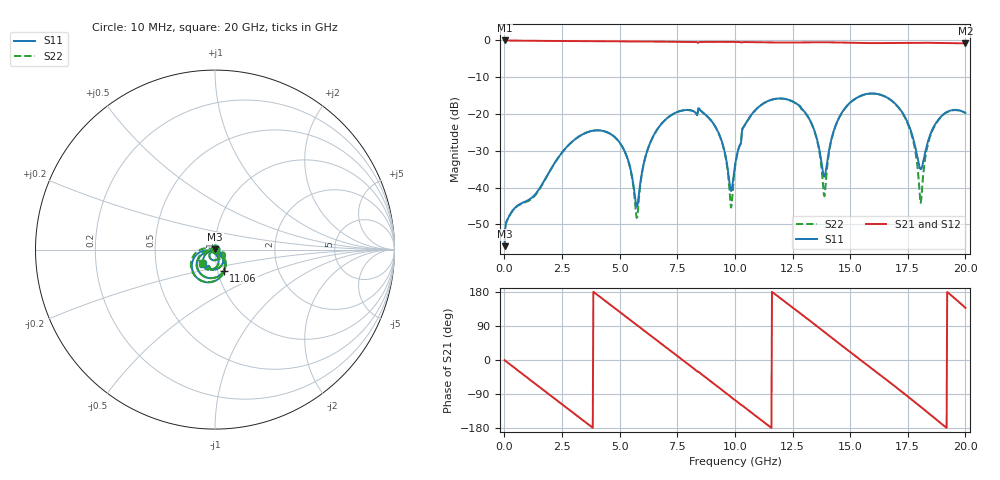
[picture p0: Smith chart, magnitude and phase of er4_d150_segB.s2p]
! Stitch-rule transferability - stripline, 2 mm stitch pitch, cut at x=20 mm
! Case: er4_d150_segB
! Sweep: 10 MHz - 20 GHz, 25 MHz step, 4 cores
# GHz S MA R 50.000000
! Terminal data exported
! Port[1] = U1.PAD1.SIG
! Port[2] = U2.PAD1.SIG
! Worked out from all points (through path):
!   801 points, 10 MHz to 20 GHz, reference 50 ohm
!   highest |S21| = -0.01 dB at 10 MHz (marker M1); lowest = -0.8 dB at 20 GHz (marker M2)
!   group delay of S21, straight-line fit = 130 ps
!   lowest |S11| = -55.9 dB at 10 MHz (marker M3), VSWR 1.00, Z = 50.1 + j0.0645 ohm
!   |S11| at or under -10 dB: start of sweep to end of sweep
!   |S22| runs from -55.9 to -14.5 dB; largest |S21 - S12| = 0
!   S11 on the Smith chart (normalised r, x): 10 MHz: 1.00, +0.00; 11.06 GHz: 1.07, -0.25; 20 GHz: 0.87, -0.14
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0.01  0.001596 23.8  0.9985 -0.5  0.9985 -0.5  0.001596 23.8
1.76  0.01293 -21.3  0.9848 -82.4  0.9848 -82.4  0.01272 -19.5
3.36  0.05218 -69.1  0.9765 -156.9  0.9765 -156.9  0.05215 -68.8
4.985  0.0415 -136.9  0.9706 127.7  0.9706 127.7  0.04138 -138.4
5.735  0.005488 -95.3  0.9686 92.8  0.9686 92.8  0.003883 -98.6
6.685  0.06522 -45.6  0.9633 48.6  0.9633 48.6  0.06509 -44.5
8.16  0.1104 -108.7  0.9542 -19.9  0.9542 -19.9  0.1103 -109.3
9.26  0.05808 -153.1  0.9552 -70.6  0.9552 -70.6  0.0577 -156.3
9.81  0.009408 -114.5  0.9549 -96.5  0.9549 -96.5  0.00607 -125.2
10.01  0.02044 -41.7  0.9539 -105.9  0.9539 -105.9  0.01911 -31.9
10.41  0.06917 -40.1  0.9495 -124.3  0.9495 -124.3  0.06898 -38.0
11.06  0.1268 -67.3  0.9435 -154.8  0.9435 -154.8  0.1265 -66.8
12.135  0.161 -113.3  0.9356 155.6  0.9356 155.6  0.1607 -114.3
13.36  0.07031 -161.1  0.9419 98.7  0.9419 98.7  0.06941 -166.2
13.885  0.01399 -102.6  0.9426 73.8  0.9426 73.8  0.007609 -100.5
14.76  0.1179 -62.8  0.9335 32.4  0.9335 32.4  0.1172 -61.2
15.685  0.186 -100.9  0.9209 -10.8  0.9209 -10.8  0.1852 -102.0
16.685  0.1613 -143.0  0.9221 -57.3  0.9221 -57.3  0.1606 -146.7
17.585  0.06519 -173.9  0.9295 -100.3  0.9295 -100.3  0.06293 174.4
18.06  0.01772 -122.4  0.9298 -123.5  0.9298 -123.5  0.006164 -125.8
18.71  0.0741 -74.9  0.925 -155.6  0.925 -155.6  0.0722 -70.9
20  0.103 -129.8  0.9108 137.6  0.9108 137.6  0.1035 -133.5
